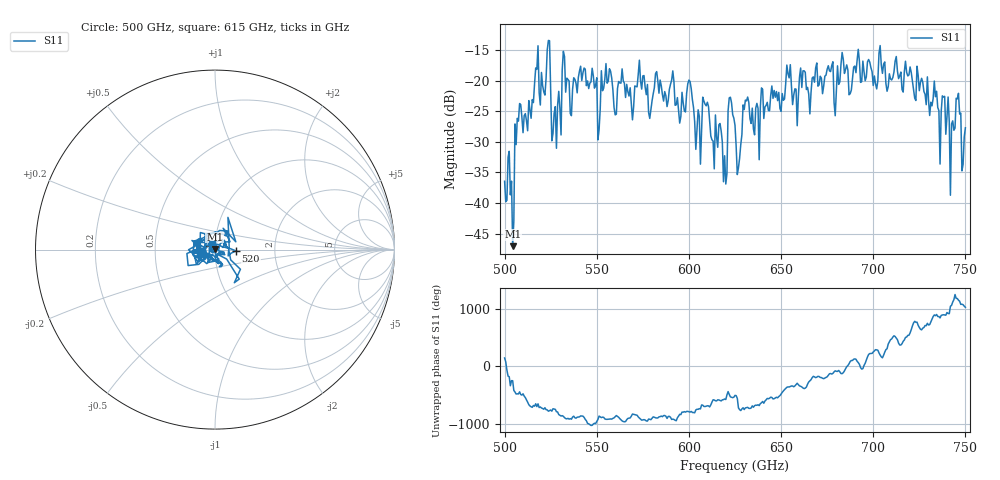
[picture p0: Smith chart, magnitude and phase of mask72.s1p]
!Created with skrf (http://scikit-rf.org).
# GHz S MA R 50.0
!freq magS11 angS11
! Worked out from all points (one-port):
!   401 points, 500 GHz to 750 GHz, reference 50 ohm
!   lowest |S11| = -47.1 dB at 504.4 GHz (marker M1), VSWR 1.01, Z = 49.8 + j0.412 ohm
!   |S11| at or under -10 dB: start of sweep to end of sweep
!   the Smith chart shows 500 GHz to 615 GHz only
!   S11 on the Smith chart (normalised r, x): 500 GHz: 0.97, +0.02; 520 GHz: 1.26, -0.02; 615 GHz: 0.97, +0.06
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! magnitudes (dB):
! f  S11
! 500 GHz  -36.4
! 504.4 GHz  -47.1
! 508.1 GHz  -23.7
! 520 GHz  -18.6
! 523.8 GHz  -13.4
! 526.9 GHz  -25.3
! 531.2 GHz  -18.2
! 548.8 GHz  -21.2
! 550.6 GHz  -29.7
! 562.5 GHz  -20.4
! 579.4 GHz  -24.7
! 590.6 GHz  -19.9
! 593.8 GHz  -22.8
! 600 GHz  -19.9
! 605 GHz  -24.8
! 608.8 GHz  -23.8
! 615 GHz  -29.2
! 619.4 GHz  -32.3
! 622.5 GHz  -22.7
! 625 GHz  -27.3
! 626.9 GHz  -34.2
! 630.6 GHz  -23.2
! 656.2 GHz  -23.9
! 687.5 GHz  -22.1
! 718.8 GHz  -19.2
! 743.1 GHz  -26.6
! 746.2 GHz  -22.1
! 750 GHz  -27.7
